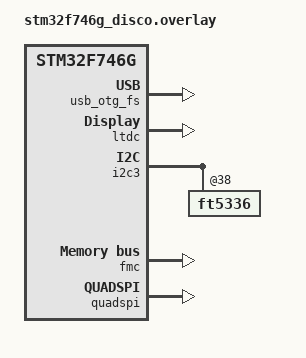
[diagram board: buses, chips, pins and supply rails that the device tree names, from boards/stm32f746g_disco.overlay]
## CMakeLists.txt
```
# SPDX-License-Identifier: Apache-2.0

cmake_minimum_required(VERSION 3.20.0)

find_package(Zephyr REQUIRED HINTS $ENV{ZEPHYR_BASE})
project(ocpp_demo_zephyr43)

include(${ZEPHYR_BASE}/samples/net/common/common.cmake)

target_sources(app PRIVATE
    src/main.c
    src/gui.c
    src/cpu_monitor.c
    src/usb_status.c
)
```

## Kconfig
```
# Copyright (c) 2025 Linumiz GmbH
# SPDX-License-Identifier: Apache-2.0

mainmenu "OCPP Demo Zephyr 4.3 Configuration"

source "Kconfig.zephyr"
```

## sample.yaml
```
sample:
  name: Zephyr 4.3 OCPP Demo with GUI
  description: Comprehensive demo showcasing Zephyr 4.3 features
tests:
  sample.net.ocpp_demo_zephyr43:
    tags:
      - net
      - ocpp
      - usb
      - display
      - lvgl
      - gui
    platform_allow:
      - stm32f746g_disco
    integration_platforms:
      - stm32f746g_disco
    harness: net
```

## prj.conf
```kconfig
# HTTP & Websocket
CONFIG_HTTP_CLIENT=y
CONFIG_WEBSOCKET_CLIENT=y

# Networking config
CONFIG_NETWORKING=y
CONFIG_NET_IPV4=y
CONFIG_NET_IPV6=n
CONFIG_NET_CONNECTION_MANAGER=y
CONFIG_NET_CONFIG_SETTINGS=y
CONFIG_NET_TCP=y
CONFIG_NET_SOCKETS=y
CONFIG_NET_SOCKETS_POLL_MAX=4
CONFIG_NET_L2_ETHERNET=y
CONFIG_ETH_DRIVER=y
CONFIG_LOG=y
CONFIG_NET_LOG=y

# OCPP
CONFIG_OCPP=y

# Server configuration - REQUIRED: Update these for your environment
# Replace with your actual server IPs before building
CONFIG_NET_SAMPLE_SNTP_SERVER="pool.ntp.org"
CONFIG_NET_SAMPLE_OCPP_SERVER="your-ocpp-server-ip"
CONFIG_NET_SAMPLE_OCPP_PORT=8180

# Memory configuration
CONFIG_MAIN_STACK_SIZE=8192
CONFIG_HEAP_MEM_POOL_SIZE=32768

CONFIG_JSON_LIBRARY=y
CONFIG_PICOLIBC=y
CONFIG_NET_ARP=y
CONFIG_NET_UDP=y
CONFIG_NET_DHCPV4=y
CONFIG_NET_DHCPV4_OPTION_CALLBACKS=y
CONFIG_TEST_RANDOM_GENERATOR=y

CONFIG_NET_TX_STACK_SIZE=2048
CONFIG_NET_RX_STACK_SIZE=2048
CONFIG_NET_PKT_RX_COUNT=28
CONFIG_NET_BUF_RX_COUNT=60
CONFIG_NET_MGMT=y
CONFIG_NET_MGMT_EVENT=y

CONFIG_SNTP=y

CONFIG_ZBUS=y
CONFIG_ZBUS_RUNTIME_OBSERVERS=y
CONFIG_POSIX_API=y
CONFIG_POSIX_CLOCK_SELECTION=y

# Display and LVGL
CONFIG_DISPLAY=y
CONFIG_DISPLAY_LOG_LEVEL_WRN=y

CONFIG_LVGL=y
CONFIG_LV_Z_MEM_POOL_SIZE=32768
CONFIG_LV_USE_LOG=y
CONFIG_LV_USE_LABEL=y
CONFIG_LV_USE_BTN=y
CONFIG_LV_USE_ARC=y
CONFIG_LV_USE_BAR=y
CONFIG_LV_USE_TEXTAREA=y
CONFIG_LV_USE_CHART=y
CONFIG_LV_FONT_MONTSERRAT_12=y
CONFIG_LV_FONT_MONTSERRAT_14=y
CONFIG_LV_FONT_MONTSERRAT_16=y
CONFIG_LV_FONT_MONTSERRAT_20=y
CONFIG_LV_USE_METER=y

# USB Device Next Stack
CONFIG_USB_DEVICE_STACK=y
CONFIG_USB_DEVICE_VID=0x2FE3
CONFIG_USB_DEVICE_PID=0x0100
CONFIG_USB_DEVICE_MANUFACTURER="Zephyr Project"
CONFIG_USB_DEVICE_PRODUCT="OCPP Demo"

# CDC ACM for USB serial
CONFIG_USB_DEVICE_DRIVER_LOG_LEVEL_WRN=y

# CPU Load Monitoring
CONFIG_CPU_LOAD=y
CONFIG_CPU_LOAD_LOG_LEVEL_INF=y
CONFIG_SCHED_THREAD_USAGE=y

# Threading
CONFIG_THREAD_NAME=y
CONFIG_THREAD_STACK_INFO=y

# Shell for debugging
CONFIG_SHELL=y
CONFIG_LV_Z_SHELL=y

# Increase system workqueue stack for LVGL
CONFIG_SYSTEM_WORKQUEUE_STACK_SIZE=4096

# Timers
CONFIG_TIMER=y

# Printk
CONFIG_PRINTK=y
CONFIG_EARLY_CONSOLE=y
```

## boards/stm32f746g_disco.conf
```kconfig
# Board-specific configuration for STM32F746G Discovery

# Enable Ethernet
CONFIG_ETH_STM32_HAL=y

# Enable USB OTG FS
CONFIG_USB_DC_STM32=y

# Display configuration
CONFIG_DISPLAY_STM32_LTDC=y

# Touch configuration
CONFIG_INPUT=y
CONFIG_INPUT_FT5336=y

# SDRAM for frame buffers
CONFIG_MEMC_STM32_SDRAM=y

# External Flash
CONFIG_FLASH_STM32_QSPI=y
```

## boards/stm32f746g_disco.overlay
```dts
/*
 * Copyright (c) 2025 Linumiz GmbH
 *
 * SPDX-License-Identifier: Apache-2.0
 */

/* Enable USB OTG FS for USB Device stack */
&usb_otg_fs {
	status = "okay";
};

/* Ensure LTDC (LCD Controller) is enabled for display */
&ltdc {
	status = "okay";
};

/* Touch controller */
&i2c3 {
	status = "okay";
	
	ft5336: ft5336@38 {
		status = "okay";
	};
};

/* External SDRAM for LVGL frame buffers */
&fmc {
	status = "okay";
};

/* QSPI Flash */
&quadspi {
	status = "okay";
};
```

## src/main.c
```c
/*
 * Copyright (c) 2025 Linumiz GmbH
 *
 * SPDX-License-Identifier: Apache-2.0
 */

#include <stdio.h>
#include <time.h>
#include <string.h>

#include <zephyr/kernel.h>
#include <zephyr/net/net_if.h>
#include <zephyr/net/net_core.h>
#include <zephyr/net/net_context.h>
#include <zephyr/net/net_mgmt.h>
#include <zephyr/net/sntp.h>
#include <zephyr/net/ocpp.h>
#include <zephyr/random/random.h>
#include <zephyr/zbus/zbus.h>
#include <zephyr/logging/log.h>

#include "net_sample_common.h"
#include "ocpp_demo.h"

#if __POSIX_VISIBLE < 200809
char *strdup(const char *);
#endif

LOG_MODULE_REGISTER(main, LOG_LEVEL_INF);

/* Global state */
struct system_status g_system_status = {0};
struct connector_info g_connectors[NO_OF_CONN] = {0};
K_MUTEX_DEFINE(g_state_mutex);

/* Thread stacks */
K_KERNEL_STACK_ARRAY_DEFINE(cp_stk, NO_OF_CONN, 2 * 1024);

static struct k_thread tinfo[NO_OF_CONN];
static k_tid_t tid[NO_OF_CONN];

/* GUI update timer */
static struct k_timer gui_update_timer;
static struct k_timer uptime_timer;

static void gui_update_timer_handler(struct k_timer *timer)
{
	ARG_UNUSED(timer);
	
	/* Update system status */
	k_mutex_lock(&g_state_mutex, K_FOREVER);
	g_system_status.cpu_load_percent = cpu_monitor_get_load();
	g_system_status.cpu_freq_mhz = cpu_monitor_get_freq();
	g_system_status.usb_connected = usb_status_is_connected();
	k_mutex_unlock(&g_state_mutex);
	
	/* Update GUI */
	gui_update_all();
}

static void uptime_timer_handler(struct k_timer *timer)
{
	ARG_UNUSED(timer);
	
	k_mutex_lock(&g_state_mutex, K_FOREVER);
	g_system_status.uptime_seconds++;
	k_mutex_unlock(&g_state_mutex);
}

static int ocpp_get_time_from_sntp(void)
{
	struct sntp_ctx ctx;
	struct sntp_time stime;
	struct sockaddr_in addr;
	struct timespec tv;
	int ret;

	/* ipv4 */
	memset(&addr, 0, sizeof(addr));
	addr.sin_family = AF_INET;
	addr.sin_port = htons(123);
	inet_pton(AF_INET, CONFIG_NET_SAMPLE_SNTP_SERVER, &addr.sin_addr);

	ret = sntp_init(&ctx, (struct sockaddr *)&addr,
			sizeof(struct sockaddr_in));
	if (ret < 0) {
		LOG_ERR("Failed to init SNTP IPv4 ctx: %d", ret);
		return ret;
	}

	ret = sntp_query(&ctx, 60, &stime);
	if (ret < 0) {
		LOG_ERR("SNTP IPv4 request failed: %d", ret);
		sntp_close(&ctx);
		return ret;
	}

	LOG_INF("sntp succ since Epoch: %llu", stime.seconds);
	tv.tv_sec = stime.seconds;
	clock_settime(CLOCK_REALTIME, &tv);
	sntp_close(&ctx);
	return 0;
}

ZBUS_CHAN_DEFINE(ch_event,		 /* Name */
		 union ocpp_io_value,
		 NULL,			 /* Validator */
		 NULL,			 /* User data */
		 ZBUS_OBSERVERS_EMPTY,	 /* observers */
		 ZBUS_MSG_INIT(0)	 /* Initial value {0} */
);

ZBUS_SUBSCRIBER_DEFINE(cp_thread0, 5);
ZBUS_SUBSCRIBER_DEFINE(cp_thread1, 5);
struct zbus_observer *obs[NO_OF_CONN] = {(struct zbus_observer *)&cp_thread0,
					  (struct zbus_observer *)&cp_thread1};

static void ocpp_cp_entry(void *p1, void *p2, void *p3);

static int user_notify_cb(enum ocpp_notify_reason reason,
			   union ocpp_io_value *io,
			   void *user_data)
{
	static int wh = 6 + NO_OF_CONN;
	int idx;
	int i;

	switch (reason) {
	case OCPP_USR_GET_METER_VALUE:
		if (OCPP_OMM_ACTIVE_ENERGY_TO_EV == io->meter_val.mes) {
			snprintf(io->meter_val.val, CISTR50, "%u",
				 wh + io->meter_val.id_con);

			wh++;
			
			/* Update connector meter value in global state */
			if (io->meter_val.id_con > 0 && io->meter_val.id_con <= NO_OF_CONN) {
				k_mutex_lock(&g_state_mutex, K_FOREVER);
				g_connectors[io->meter_val.id_con - 1].meter_value_wh = 
					wh + io->meter_val.id_con;
				k_mutex_unlock(&g_state_mutex);
			}

			LOG_DBG("mtr reading val %s con %d", io->meter_val.val,
				io->meter_val.id_con);

			return 0;
		}
		break;

	case OCPP_USR_START_CHARGING:
		if (io->start_charge.id_con < 0) {
			for (i = 0; i < NO_OF_CONN; i++) {
				if (tid[i] == NULL) {
					break;
				}
			}

			if (i >= NO_OF_CONN) {
				return -EBUSY;
			}
			idx = i;
		} else {
			/* Validate connector ID is in valid range */
			if (io->start_charge.id_con < 1 || io->start_charge.id_con > NO_OF_CONN) {
				return -EINVAL;
			}
			idx = io->start_charge.id_con - 1;
		}

		if (tid[idx] == NULL) {
			LOG_INF("Remote start charging idtag %s connector %d",
				g_connectors[idx].idtag, idx + 1);

			strncpy(g_connectors[idx].idtag, io->start_charge.idtag,
				sizeof(g_connectors[idx].idtag) - 1);

			/* Update connector state */
			k_mutex_lock(&g_state_mutex, K_FOREVER);
			g_connectors[idx].state = CONN_STATE_PREPARING;
			k_mutex_unlock(&g_state_mutex);
			gui_update_connector(idx);

			tid[idx] = k_thread_create(&tinfo[idx], cp_stk[idx],
						    sizeof(cp_stk[idx]), ocpp_cp_entry,
						    (void *)(uintptr_t)(idx + 1),
						    g_connectors[idx].idtag,
						    obs[idx], 7, 0, K_NO_WAIT);

			return 0;
		}
		break;

	case OCPP_USR_STOP_CHARGING:
		zbus_chan_pub(&ch_event, io, K_MSEC(100));
		return 0;

	case OCPP_USR_UNLOCK_CONNECTOR:
		LOG_INF("unlock connector %d", io->unlock_con.id_con);
		return 0;
	}

	return -ENOTSUP;
}

static void ocpp_cp_entry(void *p1, void *p2, void *p3)
{
	int ret;
	int idcon = (int)(uintptr_t)p1;
	char *idtag = (char *)p2;
	struct zbus_observer *obs = (struct zbus_observer *)p3;
	ocpp_session_handle_t sh = NULL;
	enum ocpp_auth_status status;
	const uint32_t timeout_ms = 500;
	int conn_idx = idcon - 1;

	ret = ocpp_session_open(&sh);
	if (ret < 0) {
		LOG_ERR("ocpp open ses idcon %d> res %d", idcon, ret);
		k_mutex_lock(&g_state_mutex, K_FOREVER);
		g_connectors[conn_idx].state = CONN_STATE_FAULTED;
		k_mutex_unlock(&g_state_mutex);
		gui_update_connector(conn_idx);
		return;
	}

	while (1) {
		/* Avoid quick retry since authorization request is possible only
		 * after Bootnotification process (handled in lib) completed.
		 */

		k_sleep(K_SECONDS(5));
		ret = ocpp_authorize(sh, idtag, &status, timeout_ms);
		if (ret < 0) {
			LOG_ERR("ocpp auth %d> idcon %d status %d",
				ret, idcon, status);
		} else {
			LOG_INF("ocpp auth %d> idcon %d status %d",
				ret, idcon, status);
			break;
		}
	}

	if (status != OCPP_AUTH_ACCEPTED) {
		LOG_ERR("ocpp start idcon %d> not authorized status %d",
			idcon, status);
		k_mutex_lock(&g_state_mutex, K_FOREVER);
		g_connectors[conn_idx].state = CONN_STATE_FAULTED;
		g_connectors[conn_idx].authorized = false;
		k_mutex_unlock(&g_state_mutex);
		gui_update_connector(conn_idx);
		return;
	}

	k_mutex_lock(&g_state_mutex, K_FOREVER);
	g_connectors[conn_idx].authorized = true;
	k_mutex_unlock(&g_state_mutex);

	uint32_t txn_id = sys_rand32_get();
	ret = ocpp_start_transaction(sh, txn_id, idcon, timeout_ms);
	if (ret == 0) {
		const struct zbus_channel *chan;
		union ocpp_io_value io;

		LOG_INF("ocpp start charging connector id %d", idcon);
		
		/* Update connector state to charging */
		k_mutex_lock(&g_state_mutex, K_FOREVER);
		g_connectors[conn_idx].state = CONN_STATE_CHARGING;
		g_connectors[conn_idx].transaction_id = txn_id;
		k_mutex_unlock(&g_state_mutex);
		gui_update_connector(conn_idx);
		
		memset(&io, 0xff, sizeof(io));

		/* wait for stop charging event from main or remote CS */
		zbus_chan_add_obs(&ch_event, obs, K_SECONDS(1));
		do {
			zbus_sub_wait(obs, &chan, K_FOREVER);
			zbus_chan_read(chan, &io, K_SECONDS(1));

			if (io.stop_charge.id_con == idcon) {
				break;
			}

		} while (1);
		
		/* Update state to finishing */
		k_mutex_lock(&g_state_mutex, K_FOREVER);
		g_connectors[conn_idx].state = CONN_STATE_FINISHING;
		k_mutex_unlock(&g_state_mutex);
		gui_update_connector(conn_idx);
	}

	ret = ocpp_stop_transaction(sh, sys_rand32_get(), timeout_ms);
	if (ret < 0) {
		LOG_ERR("ocpp stop txn idcon %d> %d", idcon, ret);
		k_mutex_lock(&g_state_mutex, K_FOREVER);
		g_connectors[conn_idx].state = CONN_STATE_FAULTED;
		k_mutex_unlock(&g_state_mutex);
		gui_update_connector(conn_idx);
		return;
	}

	LOG_INF("ocpp stop charging connector id %d", idcon);
	
	/* Reset connector to available */
	k_mutex_lock(&g_state_mutex, K_FOREVER);
	g_connectors[conn_idx].state = CONN_STATE_AVAILABLE;
	g_connectors[conn_idx].transaction_id = 0;
	g_connectors[conn_idx].authorized = false;
	k_mutex_unlock(&g_state_mutex);
	gui_update_connector(conn_idx);
	
	k_sleep(K_SECONDS(1));
	ocpp_session_close(sh);
	tid[idcon - 1] = NULL;
	k_sleep(K_SECONDS(1));
	k_thread_abort(k_current_get());
}

static int ocpp_getaddrinfo(char *server, int port, char **ip)
{
	int ret;
	uint8_t retry = 5;
	char addr_str[INET_ADDRSTRLEN];
	struct sockaddr_storage b;
	struct addrinfo *result = NULL;
	struct addrinfo *addr;
	struct addrinfo hints = {
		.ai_family = AF_INET,
		.ai_socktype = SOCK_STREAM
	};

	LOG_INF("cs server %s %d", server, port);
	do {
		ret = getaddrinfo(server, NULL, &hints, &result);
		if (ret == -EAGAIN) {
			LOG_ERR("ERROR: getaddrinfo %d, rebind", ret);
			k_sleep(K_SECONDS(1));
		} else if (ret != 0) {
			LOG_ERR("ERROR: getaddrinfo failed %d", ret);
			return ret;
		}
	} while (--retry && ret);

	addr = result;
	while (addr != NULL) {
		/* IPv4 Address. */
		if (addr->ai_addrlen == sizeof(struct sockaddr_in)) {
			struct sockaddr_in *broker =
				((struct sockaddr_in *)&b);

			broker->sin_addr.s_addr =
				((struct sockaddr_in *)addr->ai_addr)
					->sin_addr.s_addr;
			broker->sin_family = AF_INET;
			broker->sin_port = htons(port);

			inet_ntop(AF_INET, &broker->sin_addr, addr_str,
				  sizeof(addr_str));

			*ip = strdup(addr_str);
			LOG_INF("IPv4 Address %s", addr_str);
			break;
		}

		LOG_ERR("error: ai_addrlen = %u should be %u or %u",
			(unsigned int)addr->ai_addrlen,
			(unsigned int)sizeof(struct sockaddr_in),
			(unsigned int)sizeof(struct sockaddr_in6));

		addr = addr->ai_next;
	}

	/* Free the address. */
	freeaddrinfo(result);

	return 0;
}

int main(void)
{
	int ret;
	int i;
	char *ip = NULL;

	struct ocpp_cp_info cpi = {"basic", "zephyr", .num_of_con = NO_OF_CONN};
	struct ocpp_cs_info csi = {NULL,
				   "/steve/websocket/CentralSystemService/zephyr",
				   CONFIG_NET_SAMPLE_OCPP_PORT,
				   AF_INET};

	printk("\n\n");
	printk("================================================\n");
	printk("  Zephyr 4.3 OCPP Demo - STM32F746G Discovery  \n");
	printk("================================================\n");
	printk("Showcasing Zephyr 4.3 Highlights:\n");
	printk("  - OCPP 1.6 Library\n");
	printk("  - USB Device 'Next' Stack\n");
	printk("  - CPU Load Monitoring\n");
	printk("  - LVGL GUI with Touchscreen\n");
	printk("  - Instrumentation Ready\n");
	printk("================================================\n\n");

	/* Initialize global state */
	memset(&g_system_status, 0, sizeof(g_system_status));
	for (i = 0; i < NO_OF_CONN; i++) {
		g_connectors[i].id = i + 1;
		g_connectors[i].state = CONN_STATE_AVAILABLE;
		snprintf(g_connectors[i].idtag, sizeof(g_connectors[i].idtag),
			 "ZepId%02d", i);
		g_connectors[i].meter_value_wh = 0;
		g_connectors[i].transaction_id = 0;
		g_connectors[i].authorized = false;
		tid[i] = NULL;
	}

	/* Initialize subsystems */
	LOG_INF("Initializing subsystems...");
	
	cpu_monitor_init();
	usb_status_init();
	gui_init();

	/* Start GUI update timer */
	k_timer_init(&gui_update_timer, gui_update_timer_handler, NULL);
	k_timer_start(&gui_update_timer, K_SECONDS(1), K_MSEC(500));

	/* Start uptime timer */
	k_timer_init(&uptime_timer, uptime_timer_handler, NULL);
	k_timer_start(&uptime_timer, K_SECONDS(1), K_SECONDS(1));

	/* Wait for network */
	LOG_INF("Waiting for network...");
	wait_for_network();

	/* Update network status */
	struct net_if *iface = net_if_get_default();
	if (iface) {
		struct in_addr *addr = &iface->config.ip.ipv4->unicast[0].address.in_addr;
		inet_ntop(AF_INET, addr, g_system_status.ip_address,
			  sizeof(g_system_status.ip_address));
		k_mutex_lock(&g_state_mutex, K_FOREVER);
		g_system_status.network_connected = true;
		k_mutex_unlock(&g_state_mutex);
		LOG_INF("Network connected: %s", g_system_status.ip_address);
	}

	/* Get OCPP server address */
	ret = ocpp_getaddrinfo(CONFIG_NET_SAMPLE_OCPP_SERVER,
			       CONFIG_NET_SAMPLE_OCPP_PORT, &ip);
	if (ret < 0) {
		LOG_ERR("Failed to resolve OCPP server address");
		return ret;
	}

	csi.cs_ip = ip;

	/* Synchronize time */
	ocpp_get_time_from_sntp();

	/* Initialize OCPP */
	LOG_INF("Initializing OCPP...");
	ret = ocpp_init(&cpi, &csi, user_notify_cb, NULL);
	if (ret < 0) {
		LOG_ERR("ocpp init failed %d", ret);
		return ret;
	}

	k_mutex_lock(&g_state_mutex, K_FOREVER);
	g_system_status.ocpp_connected = true;
	k_mutex_unlock(&g_state_mutex);
	LOG_INF("OCPP connected successfully");

	/* Spawn threads for each connector */
	for (i = 0; i < NO_OF_CONN; i++) {
		tid[i] = k_thread_create(&tinfo[i], cp_stk[i],
					 sizeof(cp_stk[i]),
					 ocpp_cp_entry, (void *)(uintptr_t)(i + 1),
					 g_connectors[i].idtag, obs[i], 7, 0, K_NO_WAIT);
	}

	/* Active charging session for demo */
	k_sleep(K_SECONDS(30));

	/* Send stop charging to threads for demo */
	for (i = 0; i < NO_OF_CONN; i++) {
		union ocpp_io_value io = {0};

		io.stop_charge.id_con = i + 1;

		zbus_chan_pub(&ch_event, &io, K_MSEC(100));
		k_sleep(K_SECONDS(1));
	}

	/* User could trigger remote start/stop transaction from CS server */
	LOG_INF("Demo running. Use touchscreen or Central System for control.");
	k_sleep(K_SECONDS(1200));

	return 0;
}
```

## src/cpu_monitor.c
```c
/*
 * Copyright (c) 2025 Linumiz GmbH
 *
 * SPDX-License-Identifier: Apache-2.0
 */

#include <zephyr/kernel.h>
#include <zephyr/logging/log.h>

#ifdef CONFIG_CPU_LOAD
#include <zephyr/sys/cpu_load.h>
#endif

#include "ocpp_demo.h"

LOG_MODULE_REGISTER(cpu_monitor, LOG_LEVEL_INF);

static uint8_t current_cpu_load;
static struct k_timer cpu_load_timer;

#ifdef CONFIG_CPU_LOAD
static void cpu_load_timer_handler(struct k_timer *timer)
{
	ARG_UNUSED(timer);
	
	uint32_t load;
	int ret = cpu_load_get(&load);
	
	if (ret == 0) {
		/* cpu_load_get returns value in 0-10000 range (0.00% - 100.00%) */
		current_cpu_load = (uint8_t)(load / 100);
		LOG_DBG("CPU Load: %u%%", current_cpu_load);
	} else {
		LOG_WRN("Failed to get CPU load: %d", ret);
	}
}
#endif

void cpu_monitor_init(void)
{
#ifdef CONFIG_CPU_LOAD
	LOG_INF("CPU load monitoring initialized");
	
	k_timer_init(&cpu_load_timer, cpu_load_timer_handler, NULL);
	k_timer_start(&cpu_load_timer, K_SECONDS(1), K_SECONDS(1));
	
	current_cpu_load = 0;
#else
	LOG_WRN("CPU load monitoring not available (CONFIG_CPU_LOAD not enabled)");
	current_cpu_load = 0;
#endif
}

uint8_t cpu_monitor_get_load(void)
{
	return current_cpu_load;
}

uint32_t cpu_monitor_get_freq(void)
{
	/* For STM32F746, the CPU frequency is typically 216 MHz
	 * CPU frequency scaling might not be available on all platforms
	 */
#ifdef CONFIG_CPU_FREQ
	/* If CPU freq scaling is available, query current frequency */
	/* This is platform-specific - implementation would go here */
	return 216; /* Default for STM32F746 */
#else
	/* Return fixed frequency */
	return 216; /* STM32F746 @ 216 MHz */
#endif
}
```

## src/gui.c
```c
/*
 * Copyright (c) 2025 Linumiz GmbH
 *
 * SPDX-License-Identifier: Apache-2.0
 */

#include <zephyr/kernel.h>
#include <zephyr/device.h>
#include <zephyr/drivers/display.h>
#include <zephyr/logging/log.h>
#include <lvgl.h>
#include <stdio.h>
#include <string.h>

#include "ocpp_demo.h"

LOG_MODULE_REGISTER(gui, LOG_LEVEL_INF);

/* LVGL objects */
static lv_obj_t *label_title;
static lv_obj_t *label_network;
static lv_obj_t *label_ocpp;
static lv_obj_t *label_usb;
static lv_obj_t *label_uptime;
static lv_obj_t *bar_cpu_load;
static lv_obj_t *label_cpu_load;
static lv_obj_t *label_cpu_freq;

/* Connector panels */
static lv_obj_t *connector_panels[NO_OF_CONN];
static lv_obj_t *connector_labels[NO_OF_CONN];
static lv_obj_t *connector_state_labels[NO_OF_CONN];
static lv_obj_t *connector_meter_labels[NO_OF_CONN];

static const struct device *display_dev;
static bool gui_initialized = false;

/* Color definitions */
#define COLOR_AVAILABLE   lv_palette_main(LV_PALETTE_GREEN)
#define COLOR_PREPARING   lv_palette_main(LV_PALETTE_YELLOW)
#define COLOR_CHARGING    lv_palette_main(LV_PALETTE_BLUE)
#define COLOR_FINISHING   lv_palette_main(LV_PALETTE_ORANGE)
#define COLOR_FAULTED     lv_palette_main(LV_PALETTE_RED)

static const char *get_connector_state_str(enum connector_state state)
{
	switch (state) {
	case CONN_STATE_AVAILABLE:
		return "Available";
	case CONN_STATE_PREPARING:
		return "Preparing";
	case CONN_STATE_CHARGING:
		return "Charging";
	case CONN_STATE_FINISHING:
		return "Finishing";
	case CONN_STATE_FAULTED:
		return "Faulted";
	default:
		return "Unknown";
	}
}

static lv_color_t get_connector_color(enum connector_state state)
{
	switch (state) {
	case CONN_STATE_AVAILABLE:
		return COLOR_AVAILABLE;
	case CONN_STATE_PREPARING:
		return COLOR_PREPARING;
	case CONN_STATE_CHARGING:
		return COLOR_CHARGING;
	case CONN_STATE_FINISHING:
		return COLOR_FINISHING;
	case CONN_STATE_FAULTED:
		return COLOR_FAULTED;
	default:
		return lv_palette_main(LV_PALETTE_GREY);
	}
}

void gui_init(void)
{
	lv_obj_t *screen;
	
	display_dev = DEVICE_DT_GET(DT_CHOSEN(zephyr_display));
	if (!device_is_ready(display_dev)) {
		LOG_ERR("Display device not ready");
		return;
	}
	
	LOG_INF("Display device ready: %s", display_dev->name);
	
	/* Create main screen */
	screen = lv_scr_act();
	lv_obj_set_style_bg_color(screen, lv_color_hex(0x000000), LV_PART_MAIN);
	
	/* Title */
	label_title = lv_label_create(screen);
	lv_label_set_text(label_title, "Zephyr 4.3 OCPP Demo");
	lv_obj_set_style_text_color(label_title, lv_color_hex(0xFFFFFF), LV_PART_MAIN);
	lv_obj_set_style_text_font(label_title, &lv_font_montserrat_20, LV_PART_MAIN);
	lv_obj_align(label_title, LV_ALIGN_TOP_MID, 0, 5);
	
	/* Status row at top */
	int y_pos = 35;
	
	/* Network status */
	label_network = lv_label_create(screen);
	lv_label_set_text(label_network, "NET: Disconnected");
	lv_obj_set_style_text_color(label_network, lv_color_hex(0xFF0000), LV_PART_MAIN);
	lv_obj_set_style_text_font(label_network, &lv_font_montserrat_12, LV_PART_MAIN);
	lv_obj_set_pos(label_network, 5, y_pos);
	
	/* OCPP status */
	label_ocpp = lv_label_create(screen);
	lv_label_set_text(label_ocpp, "OCPP: Offline");
	lv_obj_set_style_text_color(label_ocpp, lv_color_hex(0xFF0000), LV_PART_MAIN);
	lv_obj_set_style_text_font(label_ocpp, &lv_font_montserrat_12, LV_PART_MAIN);
	lv_obj_set_pos(label_ocpp, 150, y_pos);
	
	/* USB status */
	label_usb = lv_label_create(screen);
	lv_label_set_text(label_usb, "USB: No");
	lv_obj_set_style_text_color(label_usb, lv_color_hex(0xFF6600), LV_PART_MAIN);
	lv_obj_set_style_text_font(label_usb, &lv_font_montserrat_12, LV_PART_MAIN);
	lv_obj_set_pos(label_usb, 300, y_pos);
	
	/* Uptime */
	label_uptime = lv_label_create(screen);
	lv_label_set_text(label_uptime, "Uptime: 0s");
	lv_obj_set_style_text_color(label_uptime, lv_color_hex(0xCCCCCC), LV_PART_MAIN);
	lv_obj_set_style_text_font(label_uptime, &lv_font_montserrat_12, LV_PART_MAIN);
	lv_obj_set_pos(label_uptime, 380, y_pos);
	
	y_pos = 55;
	
	/* CPU Load bar */
	lv_obj_t *cpu_panel = lv_obj_create(screen);
	lv_obj_set_size(cpu_panel, 460, 35);
	lv_obj_set_pos(cpu_panel, 10, y_pos);
	lv_obj_set_style_bg_color(cpu_panel, lv_color_hex(0x1a1a1a), LV_PART_MAIN);
	lv_obj_set_style_border_width(cpu_panel, 1, LV_PART_MAIN);
	lv_obj_set_style_border_color(cpu_panel, lv_color_hex(0x444444), LV_PART_MAIN);
	
	lv_obj_t *cpu_label_title = lv_label_create(cpu_panel);
	lv_label_set_text(cpu_label_title, "CPU:");
	lv_obj_set_style_text_color(cpu_label_title, lv_color_hex(0xFFFFFF), LV_PART_MAIN);
	lv_obj_set_style_text_font(cpu_label_title, &lv_font_montserrat_12, LV_PART_MAIN);
	lv_obj_set_pos(cpu_label_title, 5, 8);
	
	bar_cpu_load = lv_bar_create(cpu_panel);
	lv_obj_set_size(bar_cpu_load, 280, 20);
	lv_obj_set_pos(bar_cpu_load, 45, 7);
	lv_bar_set_range(bar_cpu_load, 0, 100);
	lv_bar_set_value(bar_cpu_load, 0, LV_ANIM_OFF);
	lv_obj_set_style_bg_color(bar_cpu_load, lv_color_hex(0x333333), LV_PART_MAIN);
	lv_obj_set_style_bg_color(bar_cpu_load, lv_color_hex(0x00FF00), LV_PART_INDICATOR);
	
	label_cpu_load = lv_label_create(cpu_panel);
	lv_label_set_text(label_cpu_load, "0%");
	lv_obj_set_style_text_color(label_cpu_load, lv_color_hex(0x00FF00), LV_PART_MAIN);
	lv_obj_set_style_text_font(label_cpu_load, &lv_font_montserrat_14, LV_PART_MAIN);
	lv_obj_set_pos(label_cpu_load, 335, 7);
	
	label_cpu_freq = lv_label_create(cpu_panel);
	lv_label_set_text(label_cpu_freq, "216MHz");
	lv_obj_set_style_text_color(label_cpu_freq, lv_color_hex(0xCCCCCC), LV_PART_MAIN);
	lv_obj_set_style_text_font(label_cpu_freq, &lv_font_montserrat_12, LV_PART_MAIN);
	lv_obj_set_pos(label_cpu_freq, 385, 9);
	
	y_pos = 100;
	
	/* Connector panels */
	for (int i = 0; i < NO_OF_CONN; i++) {
		int x_pos = 10 + (i * 235);
		
		connector_panels[i] = lv_obj_create(screen);
		lv_obj_set_size(connector_panels[i], 225, 160);
		lv_obj_set_pos(connector_panels[i], x_pos, y_pos);
		lv_obj_set_style_bg_color(connector_panels[i], lv_color_hex(0x2a2a2a), LV_PART_MAIN);
		lv_obj_set_style_border_width(connector_panels[i], 2, LV_PART_MAIN);
		lv_obj_set_style_border_color(connector_panels[i], COLOR_AVAILABLE, LV_PART_MAIN);
		
		connector_labels[i] = lv_label_create(connector_panels[i]);
		char buf[32];
		snprintf(buf, sizeof(buf), "Connector %d", i + 1);
		lv_label_set_text(connector_labels[i], buf);
		lv_obj_set_style_text_color(connector_labels[i], lv_color_hex(0xFFFFFF), LV_PART_MAIN);
		lv_obj_set_style_text_font(connector_labels[i], &lv_font_montserrat_16, LV_PART_MAIN);
		lv_obj_align(connector_labels[i], LV_ALIGN_TOP_MID, 0, 5);
		
		connector_state_labels[i] = lv_label_create(connector_panels[i]);
		lv_label_set_text(connector_state_labels[i], "State: Available");
		lv_obj_set_style_text_color(connector_state_labels[i], COLOR_AVAILABLE, LV_PART_MAIN);
		lv_obj_set_style_text_font(connector_state_labels[i], &lv_font_montserrat_14, LV_PART_MAIN);
		lv_obj_set_pos(connector_state_labels[i], 10, 35);
		
		connector_meter_labels[i] = lv_label_create(connector_panels[i]);
		lv_label_set_text(connector_meter_labels[i], "Meter: 0 Wh\nID: --\nTxn: --");
		lv_obj_set_style_text_color(connector_meter_labels[i], lv_color_hex(0xCCCCCC), LV_PART_MAIN);
		lv_obj_set_style_text_font(connector_meter_labels[i], &lv_font_montserrat_12, LV_PART_MAIN);
		lv_obj_set_pos(connector_meter_labels[i], 10, 65);
	}
	
	gui_initialized = true;
	LOG_INF("GUI initialized successfully");
	
	lv_timer_handler();
	display_blanking_off(display_dev);
}

void gui_update_system_status(void)
{
	if (!gui_initialized) {
		return;
	}
	
	k_mutex_lock(&g_state_mutex, K_FOREVER);
	
	/* Update network status */
	if (g_system_status.network_connected) {
		char buf[48];
		snprintf(buf, sizeof(buf), "NET: %s", g_system_status.ip_address);
		lv_label_set_text(label_network, buf);
		lv_obj_set_style_text_color(label_network, lv_color_hex(0x00FF00), LV_PART_MAIN);
	} else {
		lv_label_set_text(label_network, "NET: Disconnected");
		lv_obj_set_style_text_color(label_network, lv_color_hex(0xFF0000), LV_PART_MAIN);
	}
	
	/* Update OCPP status */
	if (g_system_status.ocpp_connected) {
		lv_label_set_text(label_ocpp, "OCPP: Online");
		lv_obj_set_style_text_color(label_ocpp, lv_color_hex(0x00FF00), LV_PART_MAIN);
	} else {
		lv_label_set_text(label_ocpp, "OCPP: Offline");
		lv_obj_set_style_text_color(label_ocpp, lv_color_hex(0xFF0000), LV_PART_MAIN);
	}
	
	/* Update USB status */
	if (g_system_status.usb_connected) {
		lv_label_set_text(label_usb, "USB: Yes");
		lv_obj_set_style_text_color(label_usb, lv_color_hex(0x00FF00), LV_PART_MAIN);
	} else {
		lv_label_set_text(label_usb, "USB: No");
		lv_obj_set_style_text_color(label_usb, lv_color_hex(0xFF6600), LV_PART_MAIN);
	}
	
	/* Update uptime */
	char buf[32];
	uint32_t hours = g_system_status.uptime_seconds / 3600;
	uint32_t mins = (g_system_status.uptime_seconds % 3600) / 60;
	uint32_t secs = g_system_status.uptime_seconds % 60;
	snprintf(buf, sizeof(buf), "Up: %02uh%02um%02us", hours, mins, secs);
	lv_label_set_text(label_uptime, buf);
	
	/* Update CPU load */
	lv_bar_set_value(bar_cpu_load, g_system_status.cpu_load_percent, LV_ANIM_ON);
	snprintf(buf, sizeof(buf), "%u%%", g_system_status.cpu_load_percent);
	lv_label_set_text(label_cpu_load, buf);
	
	/* Color-code CPU load */
	lv_color_t cpu_color;
	if (g_system_status.cpu_load_percent < 50) {
		cpu_color = lv_color_hex(0x00FF00); /* Green */
	} else if (g_system_status.cpu_load_percent < 80) {
		cpu_color = lv_color_hex(0xFFFF00); /* Yellow */
	} else {
		cpu_color = lv_color_hex(0xFF0000); /* Red */
	}
	lv_obj_set_style_bg_color(bar_cpu_load, cpu_color, LV_PART_INDICATOR);
	lv_obj_set_style_text_color(label_cpu_load, cpu_color, LV_PART_MAIN);
	
	/* Update CPU frequency */
	snprintf(buf, sizeof(buf), "%uMHz", g_system_status.cpu_freq_mhz);
	lv_label_set_text(label_cpu_freq, buf);
	
	k_mutex_unlock(&g_state_mutex);
}

void gui_update_connector(int connector_id)
{
	if (!gui_initialized || connector_id < 0 || connector_id >= NO_OF_CONN) {
		return;
	}
	
	k_mutex_lock(&g_state_mutex, K_FOREVER);
	
	struct connector_info *conn = &g_connectors[connector_id];
	
	/* Update border color */
	lv_obj_set_style_border_color(connector_panels[connector_id],
				      get_connector_color(conn->state), LV_PART_MAIN);
	
	/* Update state label */
	char buf[64];
	snprintf(buf, sizeof(buf), "State: %s", get_connector_state_str(conn->state));
	lv_label_set_text(connector_state_labels[connector_id], buf);
	lv_obj_set_style_text_color(connector_state_labels[connector_id],
				    get_connector_color(conn->state), LV_PART_MAIN);
	
	/* Update meter and transaction info */
	snprintf(buf, sizeof(buf), "Meter: %u Wh\nID: %s\nTxn: %u",
		 conn->meter_value_wh,
		 conn->idtag[0] ? conn->idtag : "--",
		 conn->transaction_id);
	lv_label_set_text(connector_meter_labels[connector_id], buf);
	
	k_mutex_unlock(&g_state_mutex);
}

void gui_update_all(void)
{
	if (!gui_initialized) {
		return;
	}
	
	gui_update_system_status();
	
	for (int i = 0; i < NO_OF_CONN; i++) {
		gui_update_connector(i);
	}
	
	lv_timer_handler();
}
```

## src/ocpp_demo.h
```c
/*
 * Copyright (c) 2025 Linumiz GmbH
 *
 * SPDX-License-Identifier: Apache-2.0
 */

#ifndef OCPP_DEMO_H_
#define OCPP_DEMO_H_

#include <zephyr/kernel.h>
#include <zephyr/net/ocpp.h>

#define NO_OF_CONN 2

/* Connector states */
enum connector_state {
	CONN_STATE_AVAILABLE = 0,
	CONN_STATE_PREPARING,
	CONN_STATE_CHARGING,
	CONN_STATE_FINISHING,
	CONN_STATE_FAULTED
};

/* System status information */
struct system_status {
	bool network_connected;
	bool ocpp_connected;
	bool usb_connected;
	uint32_t uptime_seconds;
	uint8_t cpu_load_percent;
	uint32_t cpu_freq_mhz;
	char ip_address[16];
};

/* Connector information */
struct connector_info {
	int id;
	enum connector_state state;
	char idtag[25];
	uint32_t meter_value_wh;
	uint32_t transaction_id;
	bool authorized;
};

/* Global state */
extern struct system_status g_system_status;
extern struct connector_info g_connectors[NO_OF_CONN];
extern struct k_mutex g_state_mutex;

/* GUI functions */
void gui_init(void);
void gui_update_system_status(void);
void gui_update_connector(int connector_id);
void gui_update_all(void);

/* CPU monitor functions */
void cpu_monitor_init(void);
uint8_t cpu_monitor_get_load(void);
uint32_t cpu_monitor_get_freq(void);

/* USB status functions */
void usb_status_init(void);
bool usb_status_is_connected(void);

#endif /* OCPP_DEMO_H_ */
```

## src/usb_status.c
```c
/*
 * Copyright (c) 2025 Linumiz GmbH
 *
 * SPDX-License-Identifier: Apache-2.0
 */

#include <zephyr/kernel.h>
#include <zephyr/logging/log.h>

#ifdef CONFIG_USB_DEVICE_STACK
#include <zephyr/usb/usb_device.h>
#endif

#include "ocpp_demo.h"

LOG_MODULE_REGISTER(usb_status, LOG_LEVEL_INF);

static bool usb_is_connected;

#ifdef CONFIG_USB_DEVICE_STACK
static void usb_dc_status_cb(enum usb_dc_status_code status, const uint8_t *param)
{
	ARG_UNUSED(param);

	switch (status) {
	case USB_DC_ERROR:
		LOG_ERR("USB device error");
		usb_is_connected = false;
		break;
	case USB_DC_RESET:
		LOG_INF("USB device reset");
		usb_is_connected = false;
		break;
	case USB_DC_CONNECTED:
		LOG_INF("USB device connected");
		usb_is_connected = true;
		break;
	case USB_DC_CONFIGURED:
		LOG_INF("USB device configured");
		usb_is_connected = true;
		break;
	case USB_DC_DISCONNECTED:
		LOG_INF("USB device disconnected");
		usb_is_connected = false;
		break;
	case USB_DC_SUSPEND:
		LOG_INF("USB device suspended");
		break;
	case USB_DC_RESUME:
		LOG_INF("USB device resumed");
		break;
	default:
		LOG_WRN("USB unknown status: %d", status);
		break;
	}
}
#endif

void usb_status_init(void)
{
#ifdef CONFIG_USB_DEVICE_STACK
	int ret;

	LOG_INF("Initializing USB device stack (Next generation)");
	
	ret = usb_enable(usb_dc_status_cb);
	if (ret != 0) {
		LOG_ERR("Failed to enable USB device: %d", ret);
		usb_is_connected = false;
		return;
	}
	
	LOG_INF("USB device stack initialized successfully");
	usb_is_connected = false; /* Will be set by callback */
#else
	LOG_WRN("USB device stack not available (CONFIG_USB_DEVICE_STACK not enabled)");
	usb_is_connected = false;
#endif
}

bool usb_status_is_connected(void)
{
	return usb_is_connected;
}
```
